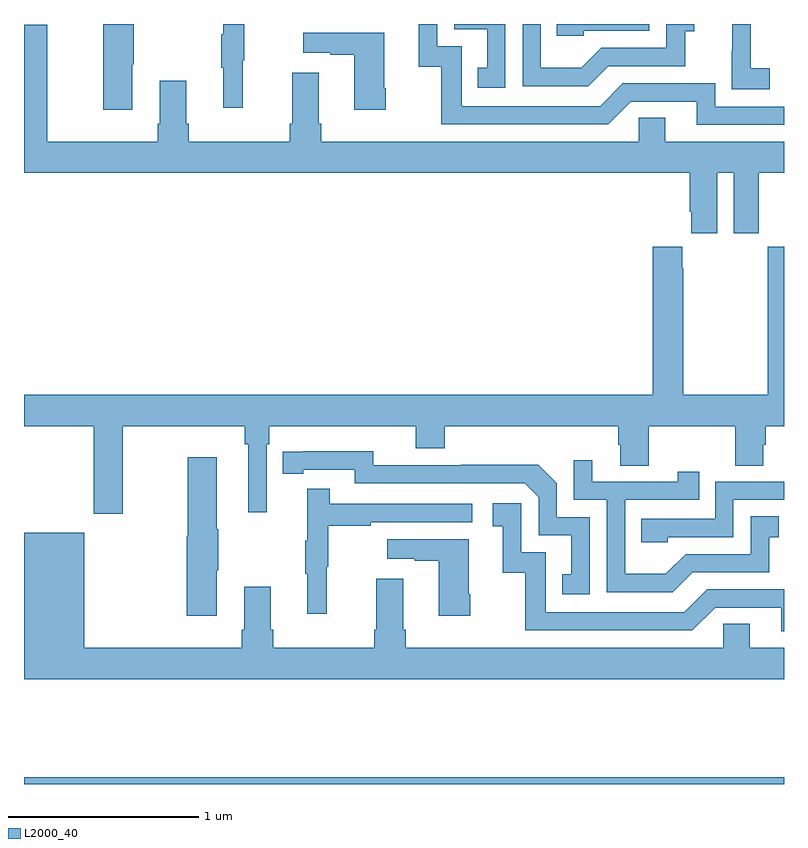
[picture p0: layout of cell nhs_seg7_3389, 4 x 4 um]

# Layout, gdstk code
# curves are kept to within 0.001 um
import gdstk
lib = gdstk.Library(unit=1e-6, precision=1e-09)
def R(c, l, rs):  # rectangles x0, y0, x1, y1
    for r in rs: c.add(gdstk.rectangle(r[:2], r[2:], *l))
def P(c, l, *ps):  # polygons
    for p in ps: c.add(gdstk.Polygon(p, *l))
L2000_40 = (2000, 40)

nhs_seg7_3389 = lib.new_cell('nhs_seg7_3389')
R(nhs_seg7_3389, L2000_40, [(325,1064,329,1064.036)])
P(nhs_seg7_3389, L2000_40, [(329,1067.565),(328.638,1067.565),(328.638,1067.688),(328.152,1067.688),(328.032,1067.568),(327.303,1067.568),(327.303,1067.883),(327.174,1067.883),(327.174,1068),(327.077,1068),(327.077,1067.775),(327.195,1067.775),(327.195,1067.472),(328.074,1067.472),(328.194,1067.592),(328.541,1067.592),(328.541,1067.469),(329,1067.469)],
  [(328.924,1067.767),(328.826,1067.767),(328.826,1067.996),(328.824,1067.996),(328.824,1068),(328.727,1068),(328.727,1067.863),(328.726,1067.863),(328.726,1067.657),(328.924,1067.657)],
  [(327.945,1067.964),(328.29,1067.964),(328.29,1068),(327.805,1068),(327.805,1067.937),(327.945,1067.937)],
  [(325.57,1067.788),(325.578,1067.788),(325.578,1068),(325.424,1068),(325.424,1067.999),(325.417,1067.999),(325.417,1067.55),(325.57,1067.55)],
  [(328.075,1067.778),(328.479,1067.778),(328.479,1067.963),(328.528,1067.963),(328.528,1068),(328.38,1068),(328.38,1067.874),(328.038,1067.874),(327.934,1067.77),(327.72,1067.77),(327.72,1068),(327.624,1068),(327.624,1067.673),(327.97,1067.673)],
  [(327.534,1068),(327.264,1068),(327.264,1067.973),(327.437,1067.973),(327.437,1067.769),(327.388,1067.769),(327.388,1067.664),(327.534,1067.664)],
  [(326.15,1067.808),(326.158,1067.808),(326.158,1068),(326.048,1068),(326.048,1067.945),(326.037,1067.945),(326.037,1067.771),(326.048,1067.771),(326.048,1067.559),(326.15,1067.559)],
  [(328.648,1067.216),(328.736,1067.216),(328.736,1066.899),(328.867,1066.899),(328.867,1067.216),(329,1067.216),(329,1067.38),(328.375,1067.38),(328.375,1067.507),(328.236,1067.507),(328.236,1067.38),(326.564,1067.38),(326.564,1067.476),(326.551,1067.476),(326.551,1067.743),(326.411,1067.743),(326.411,1067.476),(326.399,1067.476),(326.399,1067.38),(325.868,1067.38),(325.868,1067.476),(325.855,1067.476),(325.855,1067.701),(325.715,1067.701),(325.715,1067.476),(325.703,1067.476),(325.703,1067.38),(325.123,1067.38),(325.123,1067.995),(325,1067.995),(325,1067.216),(328.505,1067.216),(328.505,1067.011),(328.511,1067.011),(328.511,1066.899),(328.648,1066.899)],
  [(326.904,1067.662),(326.896,1067.662),(326.896,1067.953),(326.469,1067.953),(326.469,1067.849),(326.612,1067.849),(326.612,1067.839),(326.738,1067.839),(326.738,1067.55),(326.904,1067.55)],
  [(328.744,1065.676),(328.891,1065.676),(328.891,1065.786),(328.904,1065.786),(328.904,1065.884),(329,1065.884),(329,1066.828),(328.915,1066.828),(328.915,1066.048),(328.47,1066.048),(328.47,1066.715),(328.465,1066.715),(328.465,1066.828),(328.31,1066.828),(328.31,1066.048),(325,1066.048),(325,1065.884),(325.366,1065.884),(325.366,1065.423),(325.521,1065.423),(325.521,1065.884),(326.161,1065.884),(326.161,1065.788),(326.18,1065.788),(326.18,1065.429),(326.277,1065.429),(326.277,1065.788),(326.291,1065.788),(326.291,1065.884),(327.062,1065.884),(327.062,1065.767),(327.215,1065.767),(327.215,1065.884),(328.127,1065.884),(328.127,1065.786),(328.139,1065.786),(328.139,1065.676),(328.287,1065.676),(328.287,1065.884),(328.744,1065.884)],
  [(327.978,1065.405),(327.804,1065.405),(327.804,1065.582),(327.706,1065.68),(327.298,1065.68),(327.298,1065.678),(326.838,1065.678),(326.838,1065.751),(326.362,1065.75),(326.362,1065.634),(326.47,1065.634),(326.47,1065.654),(326.742,1065.654),(326.742,1065.582),(327.636,1065.582),(327.708,1065.51),(327.708,1065.309),(327.881,1065.309),(327.881,1065.105),(327.832,1065.105),(327.832,1065),(327.978,1065)],
  [(326.014,1065.124),(326.022,1065.124),(326.022,1065.341),(326.014,1065.341),(326.014,1065.721),(325.861,1065.721),(325.861,1065.303),(325.856,1065.303),(325.856,1064.886),(326.014,1064.886)],
  [(328.519,1065.114),(328.923,1065.114),(328.923,1065.299),(328.972,1065.299),(328.972,1065.409),(328.824,1065.409),(328.824,1065.21),(328.482,1065.21),(328.378,1065.106),(328.164,1065.106),(328.164,1065.495),(328.553,1065.495),(328.553,1065.643),(328.442,1065.643),(328.442,1065.591),(327.991,1065.591),(327.991,1065.703),(327.894,1065.703),(327.894,1065.495),(328.068,1065.495),(328.068,1065.009),(328.414,1065.009)],
  [(328.389,1065.3),(328.734,1065.3),(328.734,1065.495),(329,1065.495),(329,1065.591),(328.638,1065.591),(328.638,1065.396),(328.249,1065.396),(328.249,1065.273),(328.389,1065.273)],
  [(326.594,1065.144),(326.602,1065.144),(326.602,1065.358),(326.825,1065.358),(326.825,1065.378),(327.358,1065.378),(327.358,1065.474),(326.609,1065.474),(326.609,1065.553),(326.492,1065.553),(326.492,1065.281),(326.481,1065.281),(326.481,1065.107),(326.492,1065.107),(326.492,1064.895),(326.594,1064.895)],
  [(329,1065.024),(328.596,1065.024),(328.476,1064.904),(327.747,1064.904),(327.747,1065.219),(327.618,1065.219),(327.618,1065.478),(327.468,1065.478),(327.468,1065.357),(327.521,1065.357),(327.521,1065.111),(327.639,1065.111),(327.639,1064.808),(328.518,1064.808),(328.638,1064.928),(328.985,1064.928),(328.985,1064.805),(329,1064.805)],
  [(329,1064.716),(328.819,1064.716),(328.819,1064.843),(328.68,1064.843),(328.68,1064.716),(327.008,1064.716),(327.008,1064.812),(326.995,1064.812),(326.995,1065.079),(326.855,1065.079),(326.855,1064.812),(326.843,1064.812),(326.843,1064.716),(326.312,1064.716),(326.312,1064.812),(326.299,1064.812),(326.299,1065.037),(326.159,1065.037),(326.159,1064.812),(326.147,1064.812),(326.147,1064.716),(325.318,1064.716),(325.318,1065.322),(325,1065.322),(325,1064.552),(329,1064.552)],
  [(327.348,1064.998),(327.34,1064.998),(327.34,1065.289),(326.913,1065.289),(326.913,1065.185),(327.056,1065.185),(327.056,1065.175),(327.182,1065.175),(327.182,1064.886),(327.348,1064.886)])

lib.write_gds('nhs_seg7_3389.gds')
